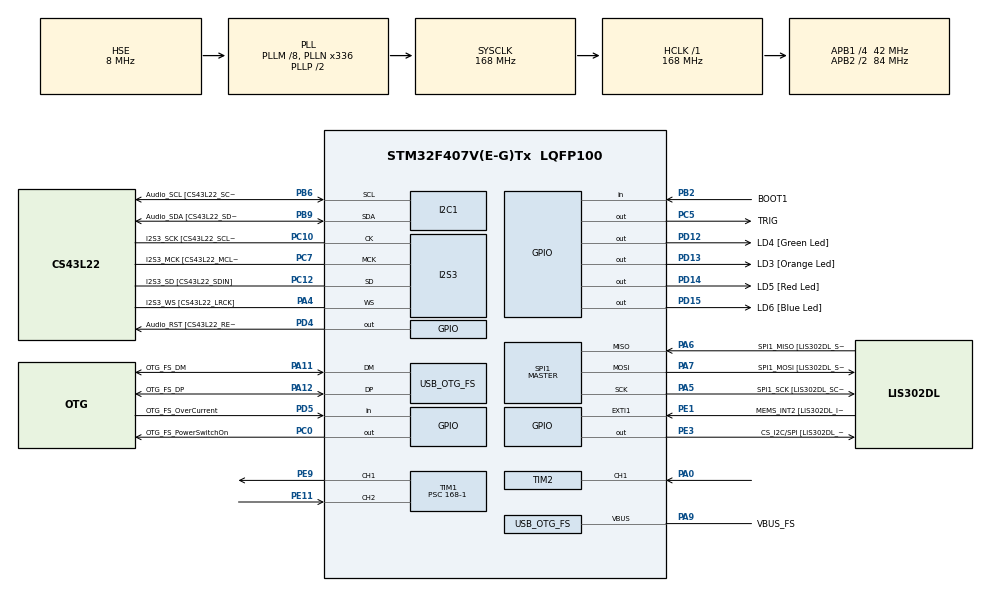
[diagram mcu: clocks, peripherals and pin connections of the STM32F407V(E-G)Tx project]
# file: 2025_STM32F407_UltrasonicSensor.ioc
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I2S3.AudioFreq-Half_Duplex_Master=I2S_AUDIOFREQ_96K
I2S3.ErrorAudioFreq=-2.34 %
I2S3.ErrorAudioFreq-Half_Duplex_Master=0.8 %
I2S3.FullDuplexMode=I2S_FULLDUPLEXMODE_DISABLE
I2S3.Instance=SPI$Index
I2S3.RealAudioFreq=93.75 KHz
I2S3.RealAudioFreq-Half_Duplex_Master=96.774 KHz
I2S3.VirtualMode=I2S_MODE_MASTER
Mcu.Family=STM32F4
Mcu.Name=STM32F407V(E-G)Tx
Mcu.Package=LQFP100
NVIC.OTG_FS_IRQn=true\:0\:0\:false\:false\:true\:true\:true\:true
NVIC.PriorityGroup=NVIC_PRIORITYGROUP_0
NVIC.TIM2_IRQn=true\:0\:0\:false\:false\:true\:true\:true\:true
PA0-WKUP.Signal=S_TIM2_CH1_ETR
PA10.GPIO_Label=OTG_FS_ID
PA10.GPIO_Mode=GPIO_MODE_AF_PP
PA10.GPIO_PuPd=GPIO_NOPULL
PA10.GPIO_Speed=GPIO_SPEED_FREQ_LOW
PA10.Signal=USB_OTG_FS_ID
PA11.GPIO_Label=OTG_FS_DM
PA11.GPIO_Mode=GPIO_MODE_AF_PP
PA11.GPIO_PuPd=GPIO_NOPULL
PA11.GPIO_Speed=GPIO_SPEED_FREQ_LOW
PA11.Mode=Host_Only
PA11.Signal=USB_OTG_FS_DM
PA12.GPIO_Label=OTG_FS_DP
PA12.GPIO_Mode=GPIO_MODE_AF_PP
PA12.GPIO_PuPd=GPIO_NOPULL
PA12.GPIO_Speed=GPIO_SPEED_FREQ_LOW
PA12.Mode=Host_Only
PA12.Signal=USB_OTG_FS_DP
PA13.GPIO_Label=SWDIO
PA13.Mode=Serial_Wire
PA13.Signal=SYS_JTMS-SWDIO
PA14.GPIO_Label=SWCLK
PA14.Mode=Serial_Wire
PA14.Signal=SYS_JTCK-SWCLK
PA4.GPIO_Label=I2S3_WS [CS43L22_LRCK]
PA4.GPIO_Mode=GPIO_MODE_AF_PP
PA4.GPIO_PuPd=GPIO_NOPULL
PA4.GPIO_Speed=GPIO_SPEED_FREQ_LOW
PA4.Mode=Half_Duplex_Master
PA4.Signal=I2S3_WS
PA5.GPIO_Label=SPI1_SCK [LIS302DL_SCL/SPC]
PA5.GPIO_Mode=GPIO_MODE_AF_PP
PA5.GPIO_PuPd=GPIO_NOPULL
PA5.GPIO_Speed=GPIO_SPEED_FREQ_LOW
PA5.Mode=Full_Duplex_Master
PA5.Signal=SPI1_SCK
PA6.GPIO_Label=SPI1_MISO [LIS302DL_SDO]
PA6.GPIO_Mode=GPIO_MODE_AF_PP
PA6.GPIO_PuPd=GPIO_NOPULL
PA6.GPIO_Speed=GPIO_SPEED_FREQ_LOW
PA6.Mode=Full_Duplex_Master
PA6.Signal=SPI1_MISO
PA7.GPIO_Label=SPI1_MOSI [LIS302DL_SDA/SDI/SDO]
PA7.GPIO_Mode=GPIO_MODE_AF_PP
PA7.GPIO_PuPd=GPIO_NOPULL
PA7.GPIO_Speed=GPIO_SPEED_FREQ_LOW
PA7.Mode=Full_Duplex_Master
PA7.Signal=SPI1_MOSI
PA9.GPIO_Label=VBUS_FS
PA9.GPIO_Mode=GPIO_MODE_INPUT
PA9.GPIO_PuPd=GPIO_NOPULL
PA9.Mode=Activate_VBUS
PA9.Signal=USB_OTG_FS_VBUS
PB10.GPIO_Label=CLK_IN [MP45DT02_CLK]
PB10.GPIO_Mode=GPIO_MODE_AF_PP
PB10.GPIO_PuPd=GPIO_NOPULL
PB10.GPIO_Speed=GPIO_SPEED_FREQ_LOW
PB10.Signal=I2S2_CK
PB2.GPIO_Label=BOOT1
PB2.GPIO_Mode=GPIO_MODE_INPUT
PB2.GPIO_PuPd=GPIO_NOPULL
PB2.Signal=GPIO_Input
PB3.GPIO_Label=SWO
PB3.Signal=SYS_JTDO-SWO
PB6.GPIO_Label=Audio_SCL [CS43L22_SCL]
PB6.GPIO_Mode=GPIO_MODE_AF_OD
PB6.GPIO_Pu=GPIO_PULLUP
PB6.GPIO_PuPd=GPIO_NOPULL
PB6.GPIO_Speed=GPIO_SPEED_FREQ_LOW
PB6.Mode=I2C
PB6.Signal=I2C1_SCL
PB9.GPIO_Label=Audio_SDA [CS43L22_SDA]
PB9.GPIO_Mode=GPIO_MODE_AF_OD
PB9.GPIO_Pu=GPIO_PULLUP
PB9.GPIO_PuPd=GPIO_NOPULL
PB9.GPIO_Speed=GPIO_SPEED_FREQ_LOW
PB9.Mode=I2C
PB9.Signal=I2C1_SDA
PC0.GPIO_Label=OTG_FS_PowerSwitchOn
PC0.GPIO_PuPd=GPIO_NOPULL
PC0.GPIO_Speed=GPIO_SPEED_FREQ_LOW
PC0.PinState=GPIO_PIN_SET
PC0.Signal=GPIO_Output
PC10.GPIO_Label=I2S3_SCK [CS43L22_SCLK]
PC10.GPIO_Mode=GPIO_MODE_AF_PP
PC10.GPIO_PuPd=GPIO_NOPULL
PC10.GPIO_Speed=GPIO_SPEED_FREQ_LOW
PC10.Mode=Half_Duplex_Master
PC10.Signal=I2S3_CK
PC12.GPIO_Label=I2S3_SD [CS43L22_SDIN]
PC12.GPIO_Mode=GPIO_MODE_AF_PP
PC12.GPIO_PuPd=GPIO_NOPULL
PC12.GPIO_Speed=GPIO_SPEED_FREQ_LOW
PC12.Mode=Half_Duplex_Master
PC12.Signal=I2S3_SD
PC14-OSC32_IN.GPIO_Label=PC14-OSC32_IN
PC14-OSC32_IN.Mode=LSE-External-Oscillator
PC14-OSC32_IN.Signal=RCC_OSC32_IN
PC15-OSC32_OUT.GPIO_Label=PC15-OSC32_OUT
PC15-OSC32_OUT.Mode=LSE-External-Oscillator
PC15-OSC32_OUT.Signal=RCC_OSC32_OUT
PC3.GPIO_Label=PDM_OUT [MP45DT02_DOUT]
PC3.GPIO_Mode=GPIO_MODE_AF_PP
PC3.GPIO_PuPd=GPIO_NOPULL
PC3.GPIO_Speed=GPIO_SPEED_FREQ_LOW
PC3.Signal=I2S2_SD
PC5.GPIO_Label=TRIG
PC5.Signal=GPIO_Output
PC7.GPIO_Label=I2S3_MCK [CS43L22_MCLK]
PC7.GPIO_Mode=GPIO_MODE_AF_PP
PC7.GPIO_PuPd=GPIO_NOPULL
PC7.GPIO_Speed=GPIO_SPEED_FREQ_LOW
PC7.Mode=Master_Clock_Activated
PC7.Signal=I2S3_MCK
PD12.GPIO_Label=LD4 [Green Led]
PD12.GPIO_PuPd=GPIO_NOPULL
PD12.GPIO_Speed=GPIO_SPEED_FREQ_LOW
PD12.Signal=GPIO_Output
PD13.GPIO_Label=LD3 [Orange Led]
PD13.GPIO_PuPd=GPIO_NOPULL
PD13.GPIO_Speed=GPIO_SPEED_FREQ_LOW
PD13.Signal=GPIO_Output
PD14.GPIO_Label=LD5 [Red Led]
PD14.GPIO_PuPd=GPIO_NOPULL
PD14.GPIO_Speed=GPIO_SPEED_FREQ_LOW
PD14.Signal=GPIO_Output
PD15.GPIO_Label=LD6 [Blue Led]
PD15.GPIO_PuPd=GPIO_NOPULL
PD15.GPIO_Speed=GPIO_SPEED_FREQ_LOW
PD15.Signal=GPIO_Output
PD4.GPIO_Label=Audio_RST [CS43L22_RESET]
PD4.GPIO_PuPd=GPIO_NOPULL
PD4.GPIO_Speed=GPIO_SPEED_FREQ_LOW
PD4.Signal=GPIO_Output
PD5.GPIO_Label=OTG_FS_OverCurrent
PD5.GPIO_Mode=GPIO_MODE_INPUT
PD5.GPIO_PuPd=GPIO_NOPULL
PD5.Signal=GPIO_Input
PE1.GPIO_Label=MEMS_INT2 [LIS302DL_INT2]
PE1.GPIO_ModeDefaultEXTI=GPIO_MODE_EVT_RISING
PE1.GPIO_PuPd=GPIO_NOPULL
PE1.Signal=GPXTI1
PE11.Signal=S_TIM1_CH2
PE3.GPIO_Label=CS_I2C/SPI [LIS302DL_CS_I2C/SPI]
PE3.GPIO_PuPd=GPIO_NOPULL
PE3.GPIO_Speed=GPIO_SPEED_FREQ_LOW
PE3.Signal=GPIO_Output
PE9.Signal=S_TIM1_CH1
PH0-OSC_IN.GPIO_Label=PH0-OSC_IN
PH0-OSC_IN.Mode=HSE-External-Oscillator
PH0-OSC_IN.Signal=RCC_OSC_IN
PH1-OSC_OUT.GPIO_Label=PH1-OSC_OUT
PH1-OSC_OUT.Mode=HSE-External-Oscillator
PH1-OSC_OUT.Signal=RCC_OSC_OUT
ProjectManager.HeapSize=0x200
ProjectManager.StackSize=0x400
ProjectManager.TargetToolchain=STM32CubeIDE
RCC.48MHZClocksFreq_Value=48000000
RCC.AHBFreq_Value=168000000
RCC.APB1CLKDivider=RCC_HCLK_DIV4
RCC.APB1Freq_Value=42000000
RCC.APB1TimFreq_Value=84000000
RCC.APB2CLKDivider=RCC_HCLK_DIV2
RCC.APB2Freq_Value=84000000
RCC.APB2TimFreq_Value=168000000
RCC.CortexFreq_Value=168000000
RCC.HCLKFreq_Value=168000000
RCC.HSE_VALUE=8000000
RCC.HSI_VALUE=16000000
RCC.PLLM=8
RCC.PLLN=336
RCC.PLLQ=7
RCC.SYSCLKFreq_VALUE=168000000
RCC.SYSCLKSource=RCC_SYSCLKSOURCE_PLLCLK
RCC.VCOOutputFreq_Value=336000000
SH.S_TIM1_CH1.0=TIM1_CH1,PWM Generation1 CH1
SH.S_TIM1_CH2.0=TIM1_CH2,TriggerSource_TI2FP2
SH.S_TIM2_CH1_ETR.0=TIM2_CH1,Input_Capture1_from_TI1
SPI1.BaudRatePrescaler-Full_Duplex_Master=SPI_BAUDRATEPRESCALER_2
SPI1.CalculateBaudRate-Full_Duplex_Master=42.0 MBits/s
SPI1.Direction=SPI_DIRECTION_2LINES
SPI1.Mode=SPI_MODE_MASTER
SPI1.Mode-Full_Duplex_Master=SPI_MODE_MASTER
SPI1.VirtualType=VM_MASTER
TIM1.Channel-PWM\ Generation1\ CH1=TIM_CHANNEL_1
TIM1.OCMode_PWM-PWM\ Generation1\ CH1=TIM_OCMODE_PWM2
TIM1.Period=1
TIM1.Prescaler=168-1
TIM1.Pulse-PWM\ Generation1\ CH1=10
TIM2.Channel-Input_Capture1_from_TI1=TIM_CHANNEL_1
TIM2.ICPolarity_CH1=TIM_INPUTCHANNELPOLARITY_BOTHEDGE
TIM2.Period=65535
TIM2.Prescaler=84-1
USB_HOST.BSP.number=1
USB_HOST.USBH_HandleTypeDef-CDC_FS=hUsbHostFS
USB_HOST.VirtualModeFS=Cdc
USB_HOST0.BSP.STBoard=false
USB_HOST0.BSP.api=Unknown
USB_HOST0.BSP.instance=PC0
USB_HOST0.BSP.ip=GPIO
USB_HOST0.BSP.mode=Output
USB_HOST0.BSP.name=Drive_VBUS_FS
USB_HOST0.BSP.solution=PC0
USB_OTG_FS.VirtualMode=Host_Only
USB_OTG_FS.phy_itface=HCD_PHY_EMBEDDED
VP_TIM1_VS_ControllerModeTrigger.Mode=Trigger Mode
VP_TIM1_VS_OPM.Mode=OPM_bit
VP_USB_HOST_VS_USB_HOST_CDC_FS.Mode=CDC_FS
board=STM32F407G-DISC1

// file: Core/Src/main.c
/* USER CODE BEGIN Header */
/**
  ******************************************************************************
  * @file           : main.c
  * @brief          : Main program body
  ******************************************************************************
  * @attention
  *
  *	Kevin Granillo
  *	April 22, 2025
  *
  *	This program is made to use an ultrasonic sensor using one pulse and input capture
  *	The reading from the ultrasonic sensor is then converted to centimeters
  *
  *
  * Copyright (c) 2025 STMicroelectronics.
  * All rights reserved.
  *
  * This software is licensed under terms that can be found in the LICENSE file
  * in the root directory of this software component.
  * If no LICENSE file comes with this software, it is provided AS-IS.
  *
  ******************************************************************************
  */
/* USER CODE END Header */
#include "main.h"
#include "usb_host.h"

I2C_HandleTypeDef hi2c1;

I2S_HandleTypeDef hi2s3;

SPI_HandleTypeDef hspi1;

TIM_HandleTypeDef htim1;
TIM_HandleTypeDef htim2;

/* USER CODE BEGIN PV */

uint32_t gCaptureValue1 = 0; // Capture Values to calculate the period
uint32_t gCaptureValue2 = 0;
uint32_t gPeriod = 0;
uint32_t gCaptureFlag = 0;
float gDistanceCM = 0;

/* USER CODE END PV */

void SystemClock_Config(void);
static void MX_GPIO_Init(void);
static void MX_I2C1_Init(void);
static void MX_I2S3_Init(void);
static void MX_SPI1_Init(void);
static void MX_TIM1_Init(void);
static void MX_TIM2_Init(void);
void MX_USB_HOST_Process(void);

int main(void)
{

  /* MCU Configuration--------------------------------------------------------*/

  /* Reset of all peripherals, Initializes the Flash interface and the Systick. */
  HAL_Init();

  /* Configure the system clock */
  SystemClock_Config();

  /* Initialize all configured peripherals */
  MX_GPIO_Init();
  MX_I2C1_Init();
  MX_I2S3_Init();
  MX_SPI1_Init();
  MX_USB_HOST_Init();
  MX_TIM1_Init();
  MX_TIM2_Init();
  /* USER CODE BEGIN 2 */

  HAL_TIM_OnePulse_Start(&htim1, TIM_CHANNEL_1); // Start the one pulse PWM generation

  HAL_TIM_IC_Start_IT(&htim2, TIM_CHANNEL_1); // Start the interrupt for input capture

  HAL_GPIO_WritePin(TRIG_GPIO_Port, TRIG_Pin, GPIO_PIN_SET);
  HAL_Delay(100);
  HAL_GPIO_WritePin(TRIG_GPIO_Port, TRIG_Pin, GPIO_PIN_RESET); // Ensure that the pin is at 0

  /* USER CODE END 2 */

  /* Infinite loop */
  /* USER CODE BEGIN WHILE */
  while (1)
  {
	  HAL_GPIO_WritePin(TRIG_GPIO_Port, TRIG_Pin, GPIO_PIN_RESET);
	  HAL_Delay(100);
	  HAL_GPIO_WritePin(TRIG_GPIO_Port, TRIG_Pin, GPIO_PIN_SET); // Loop to trigger to PWM Channel

    /* USER CODE END WHILE */
    MX_USB_HOST_Process();

  }
}

void SystemClock_Config(void)
{
  RCC_OscInitTypeDef RCC_OscInitStruct = {0};
  RCC_ClkInitTypeDef RCC_ClkInitStruct = {0};

  /** Configure the main internal regulator output voltage
  */
  __HAL_RCC_PWR_CLK_ENABLE();
  __HAL_PWR_VOLTAGESCALING_CONFIG(PWR_REGULATOR_VOLTAGE_SCALE1);

  /** Initializes the RCC Oscillators according to the specified parameters
  * in the RCC_OscInitTypeDef structure.
  */
  RCC_OscInitStruct.OscillatorType = RCC_OSCILLATORTYPE_HSE;
  RCC_OscInitStruct.HSEState = RCC_HSE_ON;
  RCC_OscInitStruct.PLL.PLLState = RCC_PLL_ON;
  RCC_OscInitStruct.PLL.PLLSource = RCC_PLLSOURCE_HSE;
  RCC_OscInitStruct.PLL.PLLM = 8;
  RCC_OscInitStruct.PLL.PLLN = 336;
  RCC_OscInitStruct.PLL.PLLP = RCC_PLLP_DIV2;
  RCC_OscInitStruct.PLL.PLLQ = 7;
  if (HAL_RCC_OscConfig(&RCC_OscInitStruct) != HAL_OK)
  {
    Error_Handler();
  }

  /** Initializes the CPU, AHB and APB buses clocks
  */
  RCC_ClkInitStruct.ClockType = RCC_CLOCKTYPE_HCLK|RCC_CLOCKTYPE_SYSCLK
                              |RCC_CLOCKTYPE_PCLK1|RCC_CLOCKTYPE_PCLK2;
  RCC_ClkInitStruct.SYSCLKSource = RCC_SYSCLKSOURCE_PLLCLK;
  RCC_ClkInitStruct.AHBCLKDivider = RCC_SYSCLK_DIV1;
  RCC_ClkInitStruct.APB1CLKDivider = RCC_HCLK_DIV4;
  RCC_ClkInitStruct.APB2CLKDivider = RCC_HCLK_DIV2;

  if (HAL_RCC_ClockConfig(&RCC_ClkInitStruct, FLASH_LATENCY_5) != HAL_OK)
  {
    Error_Handler();
  }
}

static void MX_I2C1_Init(void)
{

  hi2c1.Instance = I2C1;
  hi2c1.Init.ClockSpeed = 100000;
  hi2c1.Init.DutyCycle = I2C_DUTYCYCLE_2;
  hi2c1.Init.OwnAddress1 = 0;
  hi2c1.Init.AddressingMode = I2C_ADDRESSINGMODE_7BIT;
  hi2c1.Init.DualAddressMode = I2C_DUALADDRESS_DISABLE;
  hi2c1.Init.OwnAddress2 = 0;
  hi2c1.Init.GeneralCallMode = I2C_GENERALCALL_DISABLE;
  hi2c1.Init.NoStretchMode = I2C_NOSTRETCH_DISABLE;
  if (HAL_I2C_Init(&hi2c1) != HAL_OK)
  {
    Error_Handler();
  }

}

static void MX_I2S3_Init(void)
{

  hi2s3.Instance = SPI3;
  hi2s3.Init.Mode = I2S_MODE_MASTER_TX;
  hi2s3.Init.Standard = I2S_STANDARD_PHILIPS;
  hi2s3.Init.DataFormat = I2S_DATAFORMAT_16B;
  hi2s3.Init.MCLKOutput = I2S_MCLKOUTPUT_ENABLE;
  hi2s3.Init.AudioFreq = I2S_AUDIOFREQ_96K;
  hi2s3.Init.CPOL = I2S_CPOL_LOW;
  hi2s3.Init.ClockSource = I2S_CLOCK_PLL;
  hi2s3.Init.FullDuplexMode = I2S_FULLDUPLEXMODE_DISABLE;
  if (HAL_I2S_Init(&hi2s3) != HAL_OK)
  {
    Error_Handler();
  }

}

static void MX_SPI1_Init(void)
{

  /* SPI1 parameter configuration*/
  hspi1.Instance = SPI1;
  hspi1.Init.Mode = SPI_MODE_MASTER;
  hspi1.Init.Direction = SPI_DIRECTION_2LINES;
  hspi1.Init.DataSize = SPI_DATASIZE_8BIT;
  hspi1.Init.CLKPolarity = SPI_POLARITY_LOW;
  hspi1.Init.CLKPhase = SPI_PHASE_1EDGE;
  hspi1.Init.NSS = SPI_NSS_SOFT;
  hspi1.Init.BaudRatePrescaler = SPI_BAUDRATEPRESCALER_2;
  hspi1.Init.FirstBit = SPI_FIRSTBIT_MSB;
  hspi1.Init.TIMode = SPI_TIMODE_DISABLE;
  hspi1.Init.CRCCalculation = SPI_CRCCALCULATION_DISABLE;
  hspi1.Init.CRCPolynomial = 10;
  if (HAL_SPI_Init(&hspi1) != HAL_OK)
  {
    Error_Handler();
  }

}

static void MX_TIM1_Init(void)
{

  TIM_SlaveConfigTypeDef sSlaveConfig = {0};
  TIM_MasterConfigTypeDef sMasterConfig = {0};
  TIM_OC_InitTypeDef sConfigOC = {0};
  TIM_BreakDeadTimeConfigTypeDef sBreakDeadTimeConfig = {0};

  htim1.Instance = TIM1;
  htim1.Init.Prescaler = 168-1;
  htim1.Init.CounterMode = TIM_COUNTERMODE_UP;
  htim1.Init.Period = 1;
  htim1.Init.ClockDivision = TIM_CLOCKDIVISION_DIV1;
  htim1.Init.RepetitionCounter = 0;
  htim1.Init.AutoReloadPreload = TIM_AUTORELOAD_PRELOAD_DISABLE;
  if (HAL_TIM_Base_Init(&htim1) != HAL_OK)
  {
    Error_Handler();
  }
  if (HAL_TIM_PWM_Init(&htim1) != HAL_OK)
  {
    Error_Handler();
  }
  if (HAL_TIM_OnePulse_Init(&htim1, TIM_OPMODE_SINGLE) != HAL_OK)
  {
    Error_Handler();
  }
  sSlaveConfig.SlaveMode = TIM_SLAVEMODE_TRIGGER;
  sSlaveConfig.InputTrigger = TIM_TS_TI2FP2;
  sSlaveConfig.TriggerPolarity = TIM_TRIGGERPOLARITY_RISING;
  sSlaveConfig.TriggerFilter = 0;
  if (HAL_TIM_SlaveConfigSynchro(&htim1, &sSlaveConfig) != HAL_OK)
  {
    Error_Handler();
  }
  sMasterConfig.MasterOutputTrigger = TIM_TRGO_RESET;
  sMasterConfig.MasterSlaveMode = TIM_MASTERSLAVEMODE_DISABLE;
  if (HAL_TIMEx_MasterConfigSynchronization(&htim1, &sMasterConfig) != HAL_OK)
  {
    Error_Handler();
  }
  sConfigOC.OCMode = TIM_OCMODE_PWM2;
  sConfigOC.Pulse = 10;
  sConfigOC.OCPolarity = TIM_OCPOLARITY_HIGH;
  sConfigOC.OCNPolarity = TIM_OCNPOLARITY_HIGH;
  sConfigOC.OCFastMode = TIM_OCFAST_DISABLE;
  sConfigOC.OCIdleState = TIM_OCIDLESTATE_RESET;
  sConfigOC.OCNIdleState = TIM_OCNIDLESTATE_RESET;
  if (HAL_TIM_PWM_ConfigChannel(&htim1, &sConfigOC, TIM_CHANNEL_1) != HAL_OK)
  {
    Error_Handler();
  }
  sBreakDeadTimeConfig.OffStateRunMode = TIM_OSSR_DISABLE;
  sBreakDeadTimeConfig.OffStateIDLEMode = TIM_OSSI_DISABLE;
  sBreakDeadTimeConfig.LockLevel = TIM_LOCKLEVEL_OFF;
  sBreakDeadTimeConfig.DeadTime = 0;
  sBreakDeadTimeConfig.BreakState = TIM_BREAK_DISABLE;
  sBreakDeadTimeConfig.BreakPolarity = TIM_BREAKPOLARITY_HIGH;
  sBreakDeadTimeConfig.AutomaticOutput = TIM_AUTOMATICOUTPUT_DISABLE;
  if (HAL_TIMEx_ConfigBreakDeadTime(&htim1, &sBreakDeadTimeConfig) != HAL_OK)
  {
    Error_Handler();
  }
  HAL_TIM_MspPostInit(&htim1);

}

static void MX_TIM2_Init(void)
{

  TIM_MasterConfigTypeDef sMasterConfig = {0};
  TIM_IC_InitTypeDef sConfigIC = {0};

  htim2.Instance = TIM2;
  htim2.Init.Prescaler = 84-1;
  htim2.Init.CounterMode = TIM_COUNTERMODE_UP;
  htim2.Init.Period = 65535;
  htim2.Init.ClockDivision = TIM_CLOCKDIVISION_DIV1;
  htim2.Init.AutoReloadPreload = TIM_AUTORELOAD_PRELOAD_DISABLE;
  if (HAL_TIM_IC_Init(&htim2) != HAL_OK)
  {
    Error_Handler();
  }
  sMasterConfig.MasterOutputTrigger = TIM_TRGO_RESET;
  sMasterConfig.MasterSlaveMode = TIM_MASTERSLAVEMODE_DISABLE;
  if (HAL_TIMEx_MasterConfigSynchronization(&htim2, &sMasterConfig) != HAL_OK)
  {
    Error_Handler();
  }
  sConfigIC.ICPolarity = TIM_INPUTCHANNELPOLARITY_BOTHEDGE;
  sConfigIC.ICSelection = TIM_ICSELECTION_DIRECTTI;
  sConfigIC.ICPrescaler = TIM_ICPSC_DIV1;
  sConfigIC.ICFilter = 0;
  if (HAL_TIM_IC_ConfigChannel(&htim2, &sConfigIC, TIM_CHANNEL_1) != HAL_OK)
  {
    Error_Handler();
  }

}

static void MX_GPIO_Init(void)
{
  GPIO_InitTypeDef GPIO_InitStruct = {0};

  /* GPIO Ports Clock Enable */
  __HAL_RCC_GPIOE_CLK_ENABLE();
  __HAL_RCC_GPIOC_CLK_ENABLE();
  __HAL_RCC_GPIOH_CLK_ENABLE();
  __HAL_RCC_GPIOA_CLK_ENABLE();
  __HAL_RCC_GPIOB_CLK_ENABLE();
  __HAL_RCC_GPIOD_CLK_ENABLE();

  /*Configure GPIO pin Output Level */
  HAL_GPIO_WritePin(CS_I2C_SPI_GPIO_Port, CS_I2C_SPI_Pin, GPIO_PIN_RESET);

  /*Configure GPIO pin Output Level */
  HAL_GPIO_WritePin(OTG_FS_PowerSwitchOn_GPIO_Port, OTG_FS_PowerSwitchOn_Pin, GPIO_PIN_SET);

  /*Configure GPIO pin Output Level */
  HAL_GPIO_WritePin(TRIG_GPIO_Port, TRIG_Pin, GPIO_PIN_RESET);

  /*Configure GPIO pin Output Level */
  HAL_GPIO_WritePin(GPIOD, LD4_Pin|LD3_Pin|LD5_Pin|LD6_Pin
                          |Audio_RST_Pin, GPIO_PIN_RESET);

  /*Configure GPIO pin : CS_I2C_SPI_Pin */
  GPIO_InitStruct.Pin = CS_I2C_SPI_Pin;
  GPIO_InitStruct.Mode = GPIO_MODE_OUTPUT_PP;
  GPIO_InitStruct.Pull = GPIO_NOPULL;
  GPIO_InitStruct.Speed = GPIO_SPEED_FREQ_LOW;
  HAL_GPIO_Init(CS_I2C_SPI_GPIO_Port, &GPIO_InitStruct);

  /*Configure GPIO pins : OTG_FS_PowerSwitchOn_Pin TRIG_Pin */
  GPIO_InitStruct.Pin = OTG_FS_PowerSwitchOn_Pin|TRIG_Pin;
  GPIO_InitStruct.Mode = GPIO_MODE_OUTPUT_PP;
  GPIO_InitStruct.Pull = GPIO_NOPULL;
  GPIO_InitStruct.Speed = GPIO_SPEED_FREQ_LOW;
  HAL_GPIO_Init(GPIOC, &GPIO_InitStruct);

  /*Configure GPIO pin : PDM_OUT_Pin */
  GPIO_InitStruct.Pin = PDM_OUT_Pin;
  GPIO_InitStruct.Mode = GPIO_MODE_AF_PP;
  GPIO_InitStruct.Pull = GPIO_NOPULL;
  GPIO_InitStruct.Speed = GPIO_SPEED_FREQ_LOW;
  GPIO_InitStruct.Alternate = GPIO_AF5_SPI2;
  HAL_GPIO_Init(PDM_OUT_GPIO_Port, &GPIO_InitStruct);

  /*Configure GPIO pin : BOOT1_Pin */
  GPIO_InitStruct.Pin = BOOT1_Pin;
  GPIO_InitStruct.Mode = GPIO_MODE_INPUT;
  GPIO_InitStruct.Pull = GPIO_NOPULL;
  HAL_GPIO_Init(BOOT1_GPIO_Port, &GPIO_InitStruct);

  /*Configure GPIO pin : CLK_IN_Pin */
  GPIO_InitStruct.Pin = CLK_IN_Pin;
  GPIO_InitStruct.Mode = GPIO_MODE_AF_PP;
  GPIO_InitStruct.Pull = GPIO_NOPULL;
  GPIO_InitStruct.Speed = GPIO_SPEED_FREQ_LOW;
  GPIO_InitStruct.Alternate = GPIO_AF5_SPI2;
  HAL_GPIO_Init(CLK_IN_GPIO_Port, &GPIO_InitStruct);

  /*Configure GPIO pins : LD4_Pin LD3_Pin LD5_Pin LD6_Pin
                           Audio_RST_Pin */
  GPIO_InitStruct.Pin = LD4_Pin|LD3_Pin|LD5_Pin|LD6_Pin
                          |Audio_RST_Pin;
  GPIO_InitStruct.Mode = GPIO_MODE_OUTPUT_PP;
  GPIO_InitStruct.Pull = GPIO_NOPULL;
  GPIO_InitStruct.Speed = GPIO_SPEED_FREQ_LOW;
  HAL_GPIO_Init(GPIOD, &GPIO_InitStruct);

  /*Configure GPIO pin : OTG_FS_OverCurrent_Pin */
  GPIO_InitStruct.Pin = OTG_FS_OverCurrent_Pin;
  GPIO_InitStruct.Mode = GPIO_MODE_INPUT;
  GPIO_InitStruct.Pull = GPIO_NOPULL;
  HAL_GPIO_Init(OTG_FS_OverCurrent_GPIO_Port, &GPIO_InitStruct);

  /*Configure GPIO pin : MEMS_INT2_Pin */
  GPIO_InitStruct.Pin = MEMS_INT2_Pin;
  GPIO_InitStruct.Mode = GPIO_MODE_EVT_RISING;
  GPIO_InitStruct.Pull = GPIO_NOPULL;
  HAL_GPIO_Init(MEMS_INT2_GPIO_Port, &GPIO_InitStruct);

}

/* USER CODE BEGIN 4 */

void HAL_TIM_IC_CaptureCallback(TIM_HandleTypeDef *htim) // Interrupt routine that captures period of echo
{
	if(htim->Instance == TIM2) // Everytime interrupt is called
	{
		if(gCaptureFlag == 0)
		{

			gCaptureValue1 = HAL_TIM_ReadCapturedValue(htim, TIM_CHANNEL_1); // Reads rising edge
			gCaptureFlag = 1;

		} else if (gCaptureFlag == 1)
		{
			gCaptureValue2 = HAL_TIM_ReadCapturedValue(htim, TIM_CHANNEL_1); // Reads falling edge

			if(gCaptureValue2 > gCaptureValue1)
			{
				gPeriod = gCaptureValue2 - gCaptureValue1; // Calculates pulse width
			} else
			{
				gPeriod = (0xFFFF - gCaptureValue1) + gCaptureValue2 + 1; // Takes care of overflow if any
			}

			gDistanceCM = (float)gPeriod/58.3f; // Converts microseconds to centimeters

			gCaptureFlag = 0; // Resets Flag
		}
	}
}

/* USER CODE END 4 */

void Error_Handler(void)
{
  __disable_irq();
  while (1)
  {
  }
}
